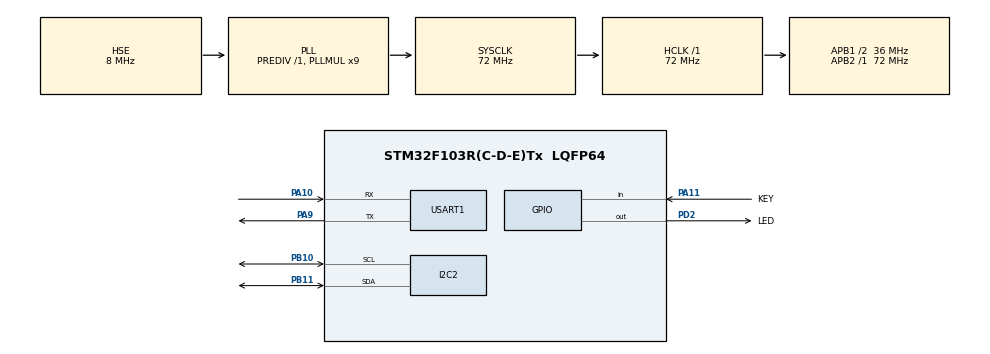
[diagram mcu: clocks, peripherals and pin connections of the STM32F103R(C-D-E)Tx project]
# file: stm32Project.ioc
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Dma.Request0=USART1_RX
Dma.Request1=USART1_TX
Dma.USART1_RX.0.Direction=DMA_PERIPH_TO_MEMORY
Dma.USART1_RX.0.Instance=DMA1_Channel5
Dma.USART1_RX.0.MemDataAlignment=DMA_MDATAALIGN_BYTE
Dma.USART1_RX.0.MemInc=DMA_MINC_ENABLE
Dma.USART1_RX.0.Mode=DMA_NORMAL
Dma.USART1_RX.0.PeriphDataAlignment=DMA_PDATAALIGN_BYTE
Dma.USART1_RX.0.PeriphInc=DMA_PINC_DISABLE
Dma.USART1_RX.0.Priority=DMA_PRIORITY_LOW
Dma.USART1_TX.1.Direction=DMA_MEMORY_TO_PERIPH
Dma.USART1_TX.1.Instance=DMA1_Channel4
Dma.USART1_TX.1.MemDataAlignment=DMA_MDATAALIGN_BYTE
Dma.USART1_TX.1.MemInc=DMA_MINC_ENABLE
Dma.USART1_TX.1.Mode=DMA_NORMAL
Dma.USART1_TX.1.PeriphDataAlignment=DMA_PDATAALIGN_BYTE
Dma.USART1_TX.1.PeriphInc=DMA_PINC_DISABLE
Dma.USART1_TX.1.Priority=DMA_PRIORITY_LOW
Mcu.Family=STM32F1
Mcu.Name=STM32F103R(C-D-E)Tx
Mcu.Package=LQFP64
NVIC.DMA1_Channel4_IRQn=true\:0\:0\:false\:false\:true\:false\:true
NVIC.DMA1_Channel5_IRQn=true\:0\:0\:false\:false\:true\:false\:true
NVIC.PriorityGroup=NVIC_PRIORITYGROUP_4
NVIC.USART1_IRQn=true\:0\:0\:false\:false\:true\:true\:true
PA10.Mode=Asynchronous
PA10.Signal=USART1_RX
PA11.GPIO_Label=KEY
PA11.Signal=GPIO_Input
PA13.Mode=Serial_Wire
PA13.Signal=SYS_JTMS-SWDIO
PA14.Mode=Serial_Wire
PA14.Signal=SYS_JTCK-SWCLK
PA9.Mode=Asynchronous
PA9.Signal=USART1_TX
PB10.Mode=I2C
PB10.Signal=I2C2_SCL
PB11.Mode=I2C
PB11.Signal=I2C2_SDA
PD0-OSC_IN.Mode=HSE-External-Oscillator
PD0-OSC_IN.Signal=RCC_OSC_IN
PD1-OSC_OUT.Mode=HSE-External-Oscillator
PD1-OSC_OUT.Signal=RCC_OSC_OUT
PD2.GPIO_Label=LED
PD2.Signal=GPIO_Output
ProjectManager.HeapSize=0x200
ProjectManager.StackSize=0x400
ProjectManager.TargetToolchain=SW4STM32
RCC.AHBFreq_Value=72000000
RCC.APB1CLKDivider=RCC_HCLK_DIV2
RCC.APB1Freq_Value=36000000
RCC.APB1TimFreq_Value=72000000
RCC.APB2Freq_Value=72000000
RCC.APB2TimFreq_Value=72000000
RCC.HCLKFreq_Value=72000000
RCC.PLLMUL=RCC_PLL_MUL9
RCC.PLLSourceVirtual=RCC_PLLSOURCE_HSE
RCC.SYSCLKFreq_VALUE=72000000
RCC.SYSCLKSource=RCC_SYSCLKSOURCE_PLLCLK
RCC.USBFreq_Value=72000000
USART1.VirtualMode=VM_ASYNC
board=custom

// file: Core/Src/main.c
/* USER CODE BEGIN Header */
/**
  ******************************************************************************
  * @file           : main.c
  * @brief          : Main program body
  ******************************************************************************
  * @attention
  *
  * <h2><center>&copy; Copyright (c) 2021 STMicroelectronics.
  * All rights reserved.</center></h2>
  *
  * This software component is licensed by ST under BSD 3-Clause license,
  * the "License"; You may not use this file except in compliance with the
  * License. You may obtain a copy of the License at:
  *                        opensource.org/licenses/BSD-3-Clause
  *
  ******************************************************************************
  */
/* USER CODE END Header */
#include "main.h"
#include "dma.h"
#include "i2c.h"
#include "usart.h"
#include "gpio.h"

/* USER CODE BEGIN Includes */
#include "user/oled.h"
/* USER CODE END Includes */

/* USER CODE BEGIN PV */
uint8_t ipaddr[] = ">xxx.xxx.x.xxx";
uint8_t line_num = 2;
uint8_t flag = 0;
int8_t str_pos = -1;
char temp_str[100];    // 临时子串
/* USER CODE END PV */

void SystemClock_Config(void);

/* USER CODE BEGIN 0 */
void OLED_preFlash(){
  OLED_Clear();
  for(uint8_t i=1; i<8; i++){
    OLED_ShowString(1,i,"***************",8);
  }
  OLED_Clear();
}
void OLED_flash(uint8_t temp[], uint8_t temp_len){
  if(temp_len>14){
    temp_len=14;
  }
  OLED_ShowString(1, line_num, (uint8_t *)"               ", 8);
  OLED_ShowString_cnt(1,line_num,temp,8, temp_len);
  if(line_num++==7){
    line_num=2;
  }
}
void OLED_formatFlash(){
  OLED_ShowString(1,3,"clit:",8);
  OLED_ShowString(1,5,"size:",8);
  OLED_ShowString(1,7,"info:",8);
}
void OLED_infoFlash(uint8_t p1[], uint8_t p2[], uint8_t p3[], uint8_t p3_len){
  OLED_ShowString_cnt(50,3,p1,8, 1);
  OLED_ShowString_cnt(50,5,p2,8, 1);
  OLED_ShowString_cnt(50,7,p3,8, p3_len);
}
void ReadStrUnit(char *str,char *temp_str,int idx,int len)  // 从母串中获取与子串长度相等的临时子串
{
  int index = 0;
  for(index; index < len; index++)
  {
    temp_str[index] = str[idx+index];
  }
  temp_str[index] = '\0';
}

int GetSubStrPos(char *str1,char *str2){
  int idx = 0;
  int len1 = strlen(str1);
  int len2 = strlen(str2);

  if( len1 < len2)
  {
    printf("error 1 \n"); // 子串比母串长
    return -1;
  }

  while(1)
  {
    ReadStrUnit(str1,temp_str,idx,len2);    // 不断获取的从 母串�?? idx 位置处更新临时子�??
    if(strcmp(str2,temp_str)==0)break;      // 若临时子串和子串�??致，结束循环
    idx++;                                  // 改变从母串中取临时子串的位置
    if(idx>=len1)return -1;                 // �?? idx 已经超出母串长度，说明母串不包含该子�??
  }

  return idx;    // 返回子串第一个字符在母串中的位置
}
void user_API(uint8_t temp[], uint8_t temp_len){
  if(flag<6){
    OLED_flash(temp, temp_len);
  }
  if(flag == 0){
    str_pos = GetSubStrPos(temp, "WIFI GOT IP");
    if(str_pos != -1){
      DMA_Usart1_Send("AT+CIFSR\r\n", 10);
      flag=1;
    }
  } else if(flag == 1){
    str_pos = GetSubStrPos(temp, "+CIFSR:STAIP,");
    if(str_pos != -1){
      for(uint8_t i=0; i<13; i++){
        ipaddr[i+1] = temp[str_pos+14+i];
      }
      OLED_ShowString_cnt(1,1,ipaddr,8, 14);

      DMA_Usart1_Send("AT+CIPMUX=1\r\n", 13);
      flag=2;
    }
  } else if(flag == 2){
    str_pos = GetSubStrPos(temp, "OK");
    if(str_pos!=-1){
      DMA_Usart1_Send("AT+CIPSERVER=1\r\n", 16);
      flag=3;
    }
  } else if(flag == 3){
    str_pos = GetSubStrPos(temp, "OK");
    if(str_pos!=-1){
      DMA_Usart1_Send("AT+CIPSTO=0\r\n", 13);
      flag=4;
    }
  } else if(flag == 4){
    str_pos = GetSubStrPos(temp, "OK");
    if(str_pos!=-1){
      DMA_Usart1_Send("AT\r\n", 4);
      flag=5;
    }
  } else if(flag == 5){
    str_pos = GetSubStrPos(temp, "OK");
    if(str_pos!=-1){
      OLED_Clear();
      OLED_ShowString_cnt(1,1,ipaddr,8, 14);
      OLED_formatFlash();
      flag = 6;
    }
  } else if(flag == 6){
    str_pos = GetSubStrPos(temp, "+IPD");
    if(str_pos!=-1){
      uint8_t p1[] = "0";
      uint8_t p2[] = "3";
      uint8_t p3[10];
      p1[0] = temp[str_pos+5];
      p2[0] = temp[str_pos+7];
      uint8_t p3_len = (uint8_t)(p2[0]-'0');
      for(uint8_t i=0; i<p3_len; i++){
        p3[i] = temp[str_pos+9+i];
      }

      OLED_infoFlash(p1, p2, p3, p3_len);
    }
  }
  //  DMA_Usart1_Send(rx1_buffer, rx1_len);
}

void Usart1_Handle()     //USART2对接收的�?????帧数据进行处�?????
{
  user_API(rx1_buffer, rx1_len);
  rx1_len = 0;//清除计数
  rec1_end_flag = 0;//清除接收结束标志�?????
  memset(rx1_buffer,0,rx1_len);
  HAL_UART_Receive_DMA(&huart1,rx1_buffer,BUFFER_SIZE);//重新打开DMA接收
}

/* USER CODE END 0 */

int main(void)
{

  /* MCU Configuration--------------------------------------------------------*/

  /* Reset of all peripherals, Initializes the Flash interface and the Systick. */
  HAL_Init();

  /* Configure the system clock */
  SystemClock_Config();

  /* Initialize all configured peripherals */
  MX_GPIO_Init();
  MX_DMA_Init();
  MX_USART1_UART_Init();
  MX_I2C2_Init();
  /* USER CODE BEGIN 2 */
  HAL_GPIO_WritePin(LED_GPIO_Port, LED_Pin, GPIO_PIN_RESET);
  OLED_Init();
  OLED_preFlash();
  __HAL_UART_ENABLE_IT(&huart1, UART_IT_IDLE);
  HAL_UART_Receive_DMA(&huart1,rx1_buffer,BUFFER_SIZE);
  HAL_GPIO_WritePin(LED_GPIO_Port, LED_Pin, GPIO_PIN_SET);
  /* USER CODE END 2 */

  /* Infinite loop */
  while (1)
  {

    /* USER CODE BEGIN 3 */
    if(rec1_end_flag)  //判断是否接收�??????1帧数�??????
    {
      HAL_GPIO_TogglePin(LED_GPIO_Port, LED_Pin);
      Usart1_Handle();
    }
    if(!HAL_GPIO_ReadPin(KEY_GPIO_Port, KEY_Pin)) { //DEBUG
      while(!HAL_GPIO_ReadPin(KEY_GPIO_Port, KEY_Pin));
      HAL_GPIO_TogglePin(LED_GPIO_Port, LED_Pin); //翻转LED
      OLED_flash("AT+CIFSR\r\n", 8);
      DMA_Usart1_Send("AT+CIFSR\r\n", 10);
      flag = 1;
    }

  }
  /* USER CODE END 3 */
}

void SystemClock_Config(void)
{
  RCC_OscInitTypeDef RCC_OscInitStruct = {0};
  RCC_ClkInitTypeDef RCC_ClkInitStruct = {0};

  /** Initializes the RCC Oscillators according to the specified parameters
  * in the RCC_OscInitTypeDef structure.
  */
  RCC_OscInitStruct.OscillatorType = RCC_OSCILLATORTYPE_HSE;
  RCC_OscInitStruct.HSEState = RCC_HSE_ON;
  RCC_OscInitStruct.HSEPredivValue = RCC_HSE_PREDIV_DIV1;
  RCC_OscInitStruct.HSIState = RCC_HSI_ON;
  RCC_OscInitStruct.PLL.PLLState = RCC_PLL_ON;
  RCC_OscInitStruct.PLL.PLLSource = RCC_PLLSOURCE_HSE;
  RCC_OscInitStruct.PLL.PLLMUL = RCC_PLL_MUL9;
  if (HAL_RCC_OscConfig(&RCC_OscInitStruct) != HAL_OK)
  {
    Error_Handler();
  }
  /** Initializes the CPU, AHB and APB buses clocks
  */
  RCC_ClkInitStruct.ClockType = RCC_CLOCKTYPE_HCLK|RCC_CLOCKTYPE_SYSCLK
                              |RCC_CLOCKTYPE_PCLK1|RCC_CLOCKTYPE_PCLK2;
  RCC_ClkInitStruct.SYSCLKSource = RCC_SYSCLKSOURCE_PLLCLK;
  RCC_ClkInitStruct.AHBCLKDivider = RCC_SYSCLK_DIV1;
  RCC_ClkInitStruct.APB1CLKDivider = RCC_HCLK_DIV2;
  RCC_ClkInitStruct.APB2CLKDivider = RCC_HCLK_DIV1;

  if (HAL_RCC_ClockConfig(&RCC_ClkInitStruct, FLASH_LATENCY_2) != HAL_OK)
  {
    Error_Handler();
  }
}

void Error_Handler(void)
{
}

/************************ (C) COPYRIGHT STMicroelectronics *****END OF FILE****/
